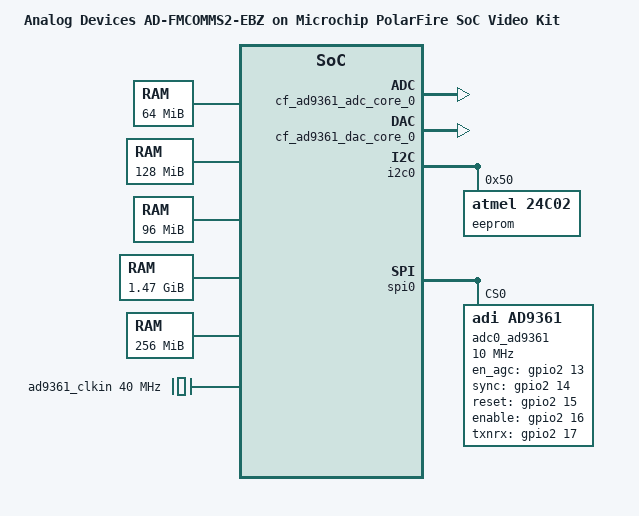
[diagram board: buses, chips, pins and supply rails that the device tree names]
// SPDX-License-Identifier: GPL-2.0
/*
 * AD-FMCOMMS2-EBZ on the PolarFire SoC Video Kit (SEV Kit), HDL project
 * projects/fmcomms2/mpfs_video_kit
 *
 * Copyright (C) 2026 Analog Devices Inc.
 */

#include "mpfs-sev-kit.dts"

/*
 * Memory map of the Microchip Video Kit image (HSS, U-Boot loads the kernel to
 * 0x80200000): the upstream SEV Kit DT has no low DDR and reserves
 * 0x80000000 as a DMA pool, which overlaps the kernel.
 */
/delete-node/ &ddrc_cache;
/delete-node/ &fabricbuf0ddrc;
/delete-node/ &fabricbuf1ddrnc;
/delete-node/ &fabricbuf2ddrncwcb;

/ {
	model = "Analog Devices AD-FMCOMMS2-EBZ on Microchip PolarFire SoC Video Kit";

	kernel: memory@80000000 {
		device_type = "memory";
		reg = <0x0 0x80000000 0x0 0x4000000>;
	};

	ddr_cached_low: memory@8a000000 {
		device_type = "memory";
		reg = <0x0 0x8a000000 0x0 0x8000000>;
	};

	ddr_non_cached_low: memory@c4000000 {
		device_type = "memory";
		reg = <0x0 0xc4000000 0x0 0x6000000>;
	};

	ddr_cached_high: memory@1022000000 {
		device_type = "memory";
		reg = <0x10 0x22000000 0x0 0x5e000000>;
	};

	ddr_non_cached_high: memory@1412000000 {
		device_type = "memory";
		reg = <0x14 0x12000000 0x0 0x10000000>;
	};

	reserved-memory {
		dma_non_cached_low: non-cached-low-buffer {
			compatible = "shared-dma-pool";
			size = <0x0 0x2000000>;
			no-map;
			alloc-ranges = <0x0 0xc4000000 0x0 0x2000000>;
		};

		dma_non_cached_high: non-cached-high-buffer {
			compatible = "shared-dma-pool";
			size = <0x0 0x10000000>;
			no-map;
			linux,dma-default;
			alloc-ranges = <0x14 0x12000000 0x0 0x10000000>;
		};

		fabricbuf0ddrc: buffer@88000000 {
			compatible = "shared-dma-pool";
			reg = <0x0 0x88000000 0x0 0x2000000>;
			no-map;
		};

		fabricbuf1ddrnc: buffer@c8000000 {
			compatible = "shared-dma-pool";
			reg = <0x0 0xc8000000 0x0 0x2000000>;
			no-map;
		};

		fabricbuf2ddrncwcb: buffer@d8000000 {
			compatible = "shared-dma-pool";
			reg = <0x0 0xd8000000 0x0 0x2000000>;
			no-map;
		};
	};

	ad9361_clkin: clock-ad9361-refclk {
		compatible = "fixed-clock";
		#clock-cells = <0>;
		clock-frequency = <40000000>;
		clock-output-names = "ad9361_ext_refclk";
	};

	fabric_clk: clock-fabric {
		compatible = "fixed-clock";
		#clock-cells = <0>;
		clock-frequency = <100000000>;
	};

	fpga_axi: fpga-axi@0 {
		compatible = "simple-bus";
		interrupt-parent = <&plic>;
		#address-cells = <2>;
		#size-cells = <2>;
		ranges = <0x0 0x40000000 0x0 0x40000000 0x0 0x20000000>;

		rx_dma: dma-controller@44400000 {
			compatible = "adi,axi-dmac-1.00.a";
			reg = <0x0 0x44400000 0x0 0x1000>;
			#dma-cells = <1>;
			interrupts = <119>;
			clocks = <&fabric_clk>;

			adi,channels {
				#size-cells = <0>;
				#address-cells = <1>;

				dma-channel@0 {
					reg = <0>;
					adi,source-bus-width = <64>;
					adi,source-bus-type = <2>;
					adi,destination-bus-width = <64>;
					adi,destination-bus-type = <0>;
				};
			};
		};

		tx_dma: dma-controller@44420000 {
			compatible = "adi,axi-dmac-1.00.a";
			reg = <0x0 0x44420000 0x0 0x1000>;
			#dma-cells = <1>;
			interrupts = <118>;
			clocks = <&fabric_clk>;

			adi,channels {
				#size-cells = <0>;
				#address-cells = <1>;

				dma-channel@0 {
					reg = <0>;
					adi,source-bus-width = <64>;
					adi,source-bus-type = <0>;
					adi,destination-bus-width = <64>;
					adi,destination-bus-type = <2>;
				};
			};
		};

		cf_ad9361_adc_core_0: cf-ad9361-lpc@44020000 {
			compatible = "adi,axi-ad9361-6.00.a";
			reg = <0x0 0x44020000 0x0 0x6000>;
			dmas = <&rx_dma 0>;
			dma-names = "rx";
			spibus-connected = <&adc0_ad9361>;
		};

		cf_ad9361_dac_core_0: cf-ad9361-dds-core-lpc@44024000 {
			compatible = "adi,axi-ad9361-dds-6.00.a";
			reg = <0x0 0x44024000 0x0 0x1000>;
			clocks = <&adc0_ad9361 13>;
			clock-names = "sampl_clk";
			dmas = <&tx_dma 0>;
			dma-names = "tx";
		};

		axi_sysid_0: axi-sysid-0@44a30000 {
			compatible = "adi,axi-sysid-1.00.a";
			reg = <0x0 0x44a30000 0x0 0x10000>;
		};
	};
};

/* MSS I2C0 is routed through the fabric to the FMC I2C: FRU EEPROM of the board */
&i2c0 {
	eeprom@50 {
		compatible = "atmel,24c02";
		reg = <0x50>;
	};
};

&spi0 {
	status = "okay";

	adc0_ad9361: ad9361-phy@0 {
		compatible = "adi,ad9361";
		reg = <0>;
		spi-cpha;
		spi-max-frequency = <10000000>;

		clocks = <&ad9361_clkin 0>;
		clock-names = "ad9361_ext_refclk";
		clock-output-names = "rx_sampl_clk", "tx_sampl_clk";
		#clock-cells = <1>;

		/* MSS GPIO2 */
		en_agc-gpios = <&gpio2 13 0>;
		sync-gpios = <&gpio2 14 0>;
		reset-gpios = <&gpio2 15 0>;
		enable-gpios = <&gpio2 16 0>;
		txnrx-gpios = <&gpio2 17 0>;

		/* digital interface */
		adi,pp-tx-swap-enable;
		adi,pp-rx-swap-enable;
		adi,rx-frame-pulse-mode-enable;
		adi,lvds-mode-enable;
		adi,lvds-bias-mV = <150>;
		adi,lvds-rx-onchip-termination-enable;
		adi,rx-data-delay = <4>;
		adi,tx-fb-clock-delay = <7>;
		adi,dcxo-coarse-and-fine-tune = <8 5920>;

		/* mode and rf */
		adi,2rx-2tx-mode-enable;
		adi,frequency-division-duplex-mode-enable;
		adi,rx-rf-port-input-select = <0>;
		adi,tx-rf-port-input-select = <0>;
		adi,tx-attenuation-mdB = <10000>;
		adi,tx-lo-powerdown-managed-enable;
		adi,rf-rx-bandwidth-hz = <18000000>;
		adi,rf-tx-bandwidth-hz = <18000000>;
		adi,rx-synthesizer-frequency-hz = /bits/ 64 <2400000000>;
		adi,tx-synthesizer-frequency-hz = /bits/ 64 <2450000000>;
		adi,rx-path-clock-frequencies = <983040000 245760000 122880000 61440000 30720000 30720000>;
		adi,tx-path-clock-frequencies = <983040000 122880000 122880000 61440000 30720000 30720000>;

		/* gain control */
		adi,gc-rx1-mode = <2>;
		adi,gc-rx2-mode = <2>;
		adi,gc-adc-ovr-sample-size = <4>;
		adi,gc-adc-small-overload-thresh = <47>;
		adi,gc-adc-large-overload-thresh = <58>;
		adi,gc-lmt-overload-high-thresh = <800>;
		adi,gc-lmt-overload-low-thresh = <704>;
		adi,gc-dec-pow-measurement-duration = <8192>;
		adi,gc-low-power-thresh = <24>;
		adi,mgc-inc-gain-step = <2>;
		adi,mgc-dec-gain-step = <2>;
		adi,mgc-split-table-ctrl-inp-gain-mode = <0>;
		adi,agc-attack-delay-extra-margin-us = <1>;
		adi,agc-outer-thresh-high = <5>;
		adi,agc-outer-thresh-high-dec-steps = <2>;
		adi,agc-inner-thresh-high = <10>;
		adi,agc-inner-thresh-high-dec-steps = <1>;
		adi,agc-inner-thresh-low = <12>;
		adi,agc-inner-thresh-low-inc-steps = <1>;
		adi,agc-outer-thresh-low = <18>;
		adi,agc-outer-thresh-low-inc-steps = <2>;
		adi,agc-adc-small-overload-exceed-counter = <10>;
		adi,agc-adc-large-overload-exceed-counter = <10>;
		adi,agc-adc-large-overload-inc-steps = <2>;
		adi,agc-lmt-overload-large-exceed-counter = <10>;
		adi,agc-lmt-overload-small-exceed-counter = <10>;
		adi,agc-lmt-overload-large-inc-steps = <2>;
		adi,agc-gain-update-interval-us = <1000>;
		adi,fagc-dec-pow-measurement-duration = <64>;
		adi,fagc-lp-thresh-increment-steps = <1>;
		adi,fagc-lp-thresh-increment-time = <5>;
		adi,fagc-energy-lost-stronger-sig-gain-lock-exit-cnt = <8>;
		adi,fagc-final-overrange-count = <3>;
		adi,fagc-gain-index-type-after-exit-rx-mode = <0>;
		adi,fagc-lmt-final-settling-steps = <1>;
		adi,fagc-lock-level = <10>;
		adi,fagc-lock-level-gain-increase-upper-limit = <5>;
		adi,fagc-lock-level-lmt-gain-increase-enable;
		adi,fagc-lpf-final-settling-steps = <1>;
		adi,fagc-optimized-gain-offset = <5>;
		adi,fagc-power-measurement-duration-in-state5 = <64>;
		adi,fagc-rst-gla-engergy-lost-goto-optim-gain-enable;
		adi,fagc-rst-gla-engergy-lost-sig-thresh-below-ll = <10>;
		adi,fagc-rst-gla-engergy-lost-sig-thresh-exceeded-enable;
		adi,fagc-rst-gla-if-en-agc-pulled-high-mode = <0>;
		adi,fagc-rst-gla-large-adc-overload-enable;
		adi,fagc-rst-gla-large-lmt-overload-enable;
		adi,fagc-rst-gla-stronger-sig-thresh-above-ll = <10>;
		adi,fagc-rst-gla-stronger-sig-thresh-exceeded-enable;
		adi,fagc-state-wait-time-ns = <260>;
		adi,fagc-use-last-lock-level-for-set-gain-enable;

		/* rssi, ctrl outs, temperature, aux dac */
		adi,rssi-restart-mode = <3>;
		adi,rssi-delay = <1>;
		adi,rssi-wait = <1>;
		adi,rssi-duration = <1000>;
		adi,ctrl-outs-index = <0>;
		adi,ctrl-outs-enable-mask = <0xff>;
		adi,temp-sense-measurement-interval-ms = <1000>;
		adi,temp-sense-offset-signed = <0xce>;
		adi,temp-sense-periodic-measurement-enable;
		adi,aux-dac-manual-mode-enable;
		adi,aux-dac1-default-value-mV = <0>;
		adi,aux-dac1-rx-delay-us = <0>;
		adi,aux-dac1-tx-delay-us = <0>;
		adi,aux-dac2-default-value-mV = <0>;
		adi,aux-dac2-rx-delay-us = <0>;
		adi,aux-dac2-tx-delay-us = <0>;
	};
};
